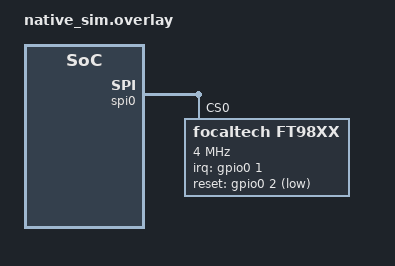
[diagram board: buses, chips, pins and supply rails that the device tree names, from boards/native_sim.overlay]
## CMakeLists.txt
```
# Copyright 2026 The ChromiumOS Authors
# Use of this source code is governed by a BSD-style license that can be
# found in the LICENSE file.

cmake_minimum_required(VERSION 3.13.1)
find_package(Zephyr REQUIRED HINTS "${ZEPHYR_BASE}")
project(ft98xx_test)

FILE(GLOB app_sources src/*.c)
target_sources(app PRIVATE ${app_sources})

# Add fingerprint drivers directory to include fingerprint_ft98xx_pal.h
target_include_directories(app PUBLIC ${PLATFORM_EC}/zephyr/drivers/fingerprint)
# Add fingerprint drivers directory to include fpsensor_driver.h
target_include_directories(app PUBLIC ${PLATFORM_EC}/zephyr/shim/include)
```

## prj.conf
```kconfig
# Copyright 2026 The ChromiumOS Authors
# Use of this source code is governed by a BSD-style license that can be
# found in the LICENSE file.

CONFIG_ZTEST=y
CONFIG_EMUL=y
CONFIG_GPIO=y
CONFIG_SPI=y
CONFIG_PM_DEVICE=n
CONFIG_FINGERPRINT_SENSOR=y
CONFIG_APPLICATION_DEFINED_SYSCALL=y
CONFIG_UART_NATIVE_PTY_0_ON_STDINOUT=y
```

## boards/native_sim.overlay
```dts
/* Copyright 2026 The ChromiumOS Authors
 * Use of this source code is governed by a BSD-style license that can be
 * found in the LICENSE file.
 */

 #define FT98XX_TEST_IMAGE_PROPS \
	width = <80>; \
	height = <128>; \
	bits-per-pixel = <12>; \
	frame-size = <30720>; \
	image-data-offset-bytes = <0>; \
	v4l2-pixel-format = "V4L2_PIX_FMT_GREY";

/ {
	chosen {
		cros-fp,fingerprint-sensor = &ft98xx;
	};
};

&spi0 {
	ft98xx: ft98xx@0 {
		compatible = "focaltech,ft98xx";
		reg = <0>;
		spi-max-frequency = <4000000>;

		configs {
			compatible = "fingerprint-image-frame-params";
			config0 {
				FT98XX_TEST_IMAGE_PROPS
				capture-type = "FINGERPRINT_CAPTURE_TYPE_VENDOR_FORMAT";
			};
			config1 {
				FT98XX_TEST_IMAGE_PROPS
				capture-type = "FINGERPRINT_CAPTURE_TYPE_SIMPLE_IMAGE";
			};
			config2 {
				FT98XX_TEST_IMAGE_PROPS
				capture-type = "FINGERPRINT_CAPTURE_TYPE_PATTERN0";
			};
			config3 {
				FT98XX_TEST_IMAGE_PROPS
				capture-type = "FINGERPRINT_CAPTURE_TYPE_PATTERN1";
			};
			config4 {
				FT98XX_TEST_IMAGE_PROPS
				capture-type = "FINGERPRINT_CAPTURE_TYPE_QUALITY_TEST";
			};
			config5 {
				FT98XX_TEST_IMAGE_PROPS
				capture-type = "FINGERPRINT_CAPTURE_TYPE_RESET_TEST";
			};
		};

		irq-gpios = <&gpio0 1 GPIO_ACTIVE_HIGH>;
		reset-gpios = <&gpio0 2 GPIO_ACTIVE_LOW>;
	};
};
```

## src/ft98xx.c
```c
/* Copyright 2026 The ChromiumOS Authors
 * Use of this source code is governed by a BSD-style license that can be
 * found in the LICENSE file.
 */

#include "ft98xx_pal_test_helpers.h"

#include <zephyr/device.h>
#include <zephyr/devicetree.h>
#include <zephyr/drivers/emul.h>
#include <zephyr/drivers/gpio.h>
#include <zephyr/drivers/gpio/gpio_emul.h>
#include <zephyr/fff.h>
#include <zephyr/sys/byteorder.h>
#include <zephyr/ztest.h>
#include <zephyr/ztest_assert.h>

#include <drivers/fingerprint.h>
#include <emul/emul_ft98xx.h>
#include <fingerprint/v4l2_types.h>
#include <fingerprint_ft98xx.h>
#include <fingerprint_ft98xx_private.h>
#include <fpsensor_driver.h>

DEFINE_FFF_GLOBALS;

struct ft98xx_fixture {
	const struct device *dev;
	const struct emul *target;
};

static void *ft98xx_setup(void)
{
	static struct ft98xx_fixture fixture = {
		.dev = DEVICE_DT_GET(DT_NODELABEL(ft98xx)),
		.target = EMUL_DT_GET(DT_NODELABEL(ft98xx)),
	};

	zassert_not_null(fixture.dev);
	zassert_not_null(fixture.target);
	return &fixture;
}

#define FT98XX_IMAGE_FRAME_PARAM_INITIALIZER(idx, node_id)                  \
	{                                                                   \
		.frame_size = FINGERPRINT_SENSOR_FRAME_SIZE(idx, node_id),  \
		.pixel_format =                                             \
			FINGERPRINT_SENSOR_V4L2_PIXEL_FORMAT(idx, node_id), \
		.width = FINGERPRINT_SENSOR_RES_X(idx, node_id),            \
		.height = FINGERPRINT_SENSOR_RES_Y(idx, node_id),           \
		.bpp = FINGERPRINT_SENSOR_RES_BPP(idx, node_id),            \
		.fp_capture_type =                                          \
			FINGERPRINT_SENSOR_CAPTURE_TYPE(idx, node_id),      \
		.reserved = 0,                                              \
	}

static const struct fingerprint_image_frame_params
	expected_image_frame_params_array[] = { LISTIFY(
		NUM_IMAGE_CAPTURE_TYPES, FT98XX_IMAGE_FRAME_PARAM_INITIALIZER,
		(, ), DT_NODELABEL(ft98xx)) };

ZTEST_SUITE(ft98xx, NULL, ft98xx_setup, NULL, NULL, NULL);

ZTEST_F(ft98xx, test_init_success)
{
	zassert_ok(fingerprint_init(fixture->dev));
}

ZTEST_F(ft98xx, test_deinit_success)
{
	zassert_ok(fingerprint_deinit(fixture->dev));
}

ZTEST_F(ft98xx, test_get_info)
{
	struct fingerprint_sensor_info sensor_info;
	struct fingerprint_image_frame_params
		image_frame_params_array[NUM_IMAGE_CAPTURE_TYPES];
	uint8_t num_params = NUM_IMAGE_CAPTURE_TYPES;

	zassert_ok(fingerprint_init(fixture->dev));
	zassert_ok(fingerprint_get_info(fixture->dev, &sensor_info,
					image_frame_params_array, &num_params));
	zassert_equal(
		num_params, NUM_IMAGE_CAPTURE_TYPES,
		"fingerprint_get_info returned an unexpected number of params");

	zassert_equal(sensor_info.vendor_id, FOURCC('F', 'T', ' ', ' '));
	zassert_equal(sensor_info.product_id, 9);
	zassert_equal(sensor_info.version, 1);
	zassert_equal(sensor_info.errors,
		      FINGERPRINT_ERROR_DEAD_PIXELS_UNKNOWN);

	for (int i = 0; i < NUM_IMAGE_CAPTURE_TYPES; ++i) {
		zassert_equal(
			memcmp(&image_frame_params_array[i],
			       &expected_image_frame_params_array[i],
			       sizeof(struct fingerprint_image_frame_params)),
			0, "Struct comparison failed at index %d", i);
	}
}

ZTEST_F(ft98xx, test_invalid_mode_not_supported)
{
	zassert_equal(fingerprint_set_mode(fixture->dev, UINT16_MAX), -ENOTSUP);
}

ZTEST_F(ft98xx, test_maintenance)
{
	uint8_t buffer[FP_SENSOR_IMAGE_SIZE];

	zassert_equal(fingerprint_maintenance(fixture->dev, buffer,
					      sizeof(buffer)),
		      0);
}

ZTEST_F(ft98xx, test_finger_status_not_supported)
{
	zassert_equal(fingerprint_finger_status(fixture->dev), -ENOTSUP);
}

ZTEST_F(ft98xx, test_acquire_image_not_supported)
{
	uint8_t buffer[FP_SENSOR_IMAGE_SIZE];

	zassert_equal(fingerprint_acquire_image(fixture->dev, 0, buffer,
						sizeof(buffer)),
		      -ENOTSUP);
}

ZTEST_F(ft98xx, test_acquire_image_small_buffer_size)
{
	uint8_t buffer[FP_SENSOR_IMAGE_SIZE] = { 0 };
	size_t image_buf_size = FP_SENSOR_IMAGE_SIZE - 1;
	enum fingerprint_capture_type capture_type =
		FINGERPRINT_CAPTURE_TYPE_VENDOR_FORMAT;

	zassert_equal(fingerprint_acquire_image(fixture->dev, capture_type,
						buffer, image_buf_size),
		      -EINVAL);
}

ZTEST_F(ft98xx, test_periphery_spi_write_read_success)
{
	uint8_t tx_buf[1] = { 0xFD };
	uint8_t rx_buf[3] = { 0 };
	uint8_t expected_rx_buf[2] = { 0x49, 0x98 };

	zassert_ok(fingerprint_init(fixture->dev));
	zassert_ok(ft98xx_spi_write_then_read(tx_buf, sizeof(tx_buf), rx_buf,
					      sizeof(rx_buf)));
	zassert_mem_equal(rx_buf, expected_rx_buf, sizeof(expected_rx_buf),
			  "Received data does not match sent data");
}

ZTEST_F(ft98xx, test_periphery_spi_write_read_spi_stopped)
{
	uint8_t tx_buf[1] = { 0xFD };
	uint8_t rx_buf[3] = { 0 };

	zassert_ok(fingerprint_init(fixture->dev));
	ft98xx_stop_spi(fixture->target);
	zassert_equal(ft98xx_spi_write_then_read(tx_buf, sizeof(tx_buf), rx_buf,
						 sizeof(rx_buf)),
		      -EINVAL);
}

ZTEST_F(ft98xx, test_periphery_spi_write_success)
{
	uint8_t tx_buf[1] = { 0xFE };

	zassert_ok(fingerprint_init(fixture->dev));
	zassert_ok(ft98xx_spi_write(tx_buf, sizeof(tx_buf)));
}

ZTEST_F(ft98xx, test_periphery_spi_write_stopped)
{
	uint8_t tx_buf[1] = { 0xFD };

	zassert_ok(fingerprint_init(fixture->dev));
	ft98xx_stop_spi(fixture->target);
	zassert_equal(ft98xx_spi_write(tx_buf, sizeof(tx_buf)), -EINVAL);
}

ZTEST_F(ft98xx, test_sensor_hw_reset)
{
	zassert_ok(fingerprint_init(fixture->dev));
	zassert_ok(ft98xx_sensor_hw_reset());
}

ZTEST_F(ft98xx, test_focal_malloc)
{
	size_t size = sizeof(int);
	void *void_ptr = ft98xx_focal_malloc(size);
	zassert_not_null(void_ptr,
			 "focal_malloc should return a valid pointer");

	int *int_ptr = (int *)void_ptr;
	int num = 9349;
	*int_ptr = num;
	zassert_equal(*int_ptr, num);

	ft98xx_focal_free(void_ptr);
}
```

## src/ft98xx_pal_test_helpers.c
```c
/* Copyright 2026 The ChromiumOS Authors
 * Use of this source code is governed by a BSD-style license that can be
 * found in the LICENSE file.
 */

#include "ft98xx_pal_test_helpers.h"

int z_impl_ft98xx_sensor_hw_reset(void)
{
	return ft_sensor_hw_reset();
}

int z_impl_ft98xx_spi_write(uint8_t *buffer, uint32_t len)
{
	return ft_spi_write(buffer, len);
}

int z_impl_ft98xx_spi_write_then_read(uint8_t *tx_buffer, uint32_t tx_len,
				      uint8_t *rx_buffer, uint32_t rx_len)
{
	return ft_spi_write_then_read(tx_buffer, tx_len, rx_buffer, rx_len);
}

void *z_impl_ft98xx_focal_malloc(uint32_t size)
{
	return focal_malloc(size);
}

void z_impl_ft98xx_focal_free(void *data)
{
	focal_free(data);
	return;
}
```

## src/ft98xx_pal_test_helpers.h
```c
/* Copyright 2026 The ChromiumOS Authors
 * Use of this source code is governed by a BSD-style license that can be
 * found in the LICENSE file.
 */

#ifndef ZEPHYR_TEST_DRIVERS_FT98XX_SRC_TEST_HELPERS_H_
#define ZEPHYR_TEST_DRIVERS_FT98XX_SRC_TEST_HELPERS_H_

#include <zephyr/kernel.h>

#include <fingerprint_ft98xx_pal.h>

__syscall int ft98xx_sensor_hw_reset(void);
__syscall int ft98xx_spi_write(uint8_t *buffer, uint32_t len);
__syscall int ft98xx_spi_write_then_read(uint8_t *tx_buffer, uint32_t tx_len,
					 uint8_t *rx_buffer, uint32_t rx_len);
__syscall void *ft98xx_focal_malloc(uint32_t size);
__syscall void ft98xx_focal_free(void *data);

#include <zephyr/syscalls/ft98xx_pal_test_helpers.h>

#endif /* ZEPHYR_TEST_DRIVERS_FT98XX_SRC_TEST_HELPERS_H_ */
```
